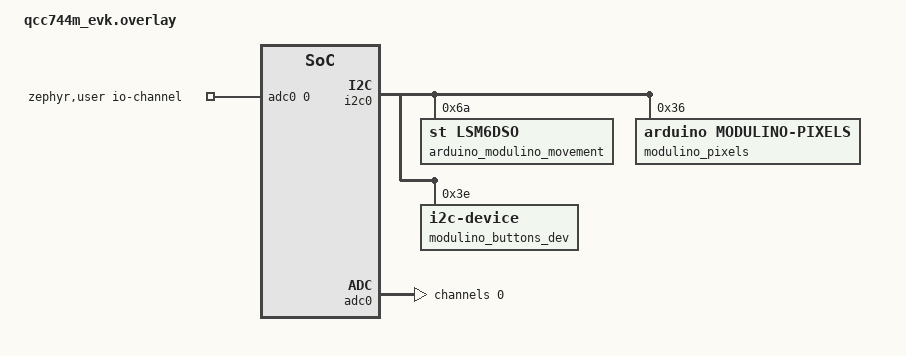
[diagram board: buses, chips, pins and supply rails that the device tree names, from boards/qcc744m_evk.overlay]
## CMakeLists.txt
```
cmake_minimum_required(VERSION 3.20.0)

set(CMAKE_CXX_STANDARD 11)
set(CMAKE_CXX_STANDARD_REQUIRED ON)

list(APPEND ZEPHYR_EXTRA_MODULES ${CMAKE_CURRENT_SOURCE_DIR}/model)

find_package(Zephyr REQUIRED HINTS $ENV{ZEPHYR_BASE})

project(firwmare-qc-qcc744m-evk)

include(utils/cmake/utils.cmake)

# Needed for colorful output
zephyr_compile_options(-fdiagnostics-color=always)

# Project include directories
set(INCLUDES
    .
    src
    )
include_directories(${INCLUDES})

# --- DSP / inference performance -------------------------------------------
if(TARGET edge-impulse-sdk)
    get_target_property(_ei_srcs edge-impulse-sdk SOURCES)
    get_target_property(_ei_dir  edge-impulse-sdk SOURCE_DIR)
    set_source_files_properties(
        ${_ei_srcs}
        DIRECTORY ${_ei_dir}
        PROPERTIES COMPILE_OPTIONS
        # -fsingle-precision-constant: unsuffixed FP literals (2.0, 0.5, M_PI)
        # stay 'float' instead of promoting neighbouring math to soft-float double
        # (no hardware double on the E907 / -mabi=ilp32f).
        "-O3;-funroll-loops;-fno-math-errno;-ffp-contract=fast;-ffast-math;-fsingle-precision-constant")
endif()

# add all sources to the project
target_sources(app PRIVATE src/main.cpp src/ei_loop.cpp)
target_sources(app PRIVATE src/sensors/ei_inertial.cpp)
target_sources(app PRIVATE src/sensors/ei_adc.cpp)
target_sources(app PRIVATE src/sensors/ei_pixels.cpp)
target_sources(app PRIVATE src/sensors/ei_buttons.cpp)
# Sensor-specific inference; each file compiles only for its EI_CLASSIFIER_SENSOR
target_sources(app PRIVATE src/inference/imu_inferencing.cpp)
target_sources(app PRIVATE src/data-fwd/data_fw.cpp)
target_sources(app PRIVATE src/msg_handler/msg_handler.cpp)
```

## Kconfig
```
source "Kconfig.zephyr"

config SAMPLING_FREQUENCY_HZ
  int "sampling frequency in Hz"
  default 50
	help
	  Sampling frequency in Hz for the sensor.
```

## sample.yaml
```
sample:
  description: Run inference using one of the ST sensor hat
    application
  name: firmware-qc-qcc744m-evk
common:
    tags: introduction
    harness: console
    harness_config:
      type: one_line
      regex:
        - "Hello World! (.*)"
```

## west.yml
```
manifest:

  remotes:
    - name: zephyrproject-rtos
      url-base: https://github.com/zephyrproject-rtos

  projects:
    - name: zephyr
      remote:  zephyrproject-rtos
      repo-path: zephyr
      revision: main
      import: true

    - name: edge-impulse-sdk-zephyr
      description: Edge Impulse SDK for Zephyr
      path: modules/edge-impulse-sdk-zephyr
      revision: main
      west-commands: west/west-commands.yml
      url: https://github.com/edgeimpulse/edge-impulse-sdk-zephyr

  self:
    path: firmware-qc-qcc744m-evk
```

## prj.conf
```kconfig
CONFIG_GPIO=y
# enable c++ support
CONFIG_CPP=y
CONFIG_GLIBCXX_LIBCPP=y
CONFIG_PICOLIBC=y
CONFIG_REQUIRES_FLOAT_PRINTF=y
CONFIG_FPU=y

CONFIG_MAIN_STACK_SIZE=2048
CONFIG_CONSOLE_SUBSYS=y
CONFIG_CONSOLE_GETLINE=y

# EI DSP heap (ei_malloc -> k_malloc). MFCC peak is ~12 KB; keep comfortable
# headroom so bigger models / more slices don't OOM. RAM is <35% used.
CONFIG_HEAP_MEM_POOL_SIZE=32768

# Enable events
CONFIG_EVENTS=y

# Edge Impulse SDK
CONFIG_EDGE_IMPULSE_SDK=y
# 0: malloc/free, 1: k_malloc/k_free
CONFIG_EDGE_IMPULSE_HEAP_TYPE=1

CONFIG_SAMPLING_FREQUENCY_HZ=50

# Sensors
CONFIG_I2C=y
CONFIG_SENSOR=y
CONFIG_ADC=y

# Arduino Modulino Pixels (I2C LED strip)
CONFIG_LED_STRIP=y

# Arduino Modulino Buttons (I2C, via the input subsystem)
CONFIG_INPUT=y
```

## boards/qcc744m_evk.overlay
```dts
#include <zephyr/dt-bindings/input/input-event-codes.h>
#include <zephyr/dt-bindings/led/led.h>
/*
 * Local QCC744M EVK sensor wiring for Arduino Modulino Movement.
 * This avoids shield label-order issues by attaching the device directly to i2c0.
 */

/ {
	aliases {
		accel0 = &arduino_modulino_movement;
	};

	zephyr,user {
		io-channels = <&adc0 0>;
	};
};

&pinctrl {
	adc0_default: adc0_default {
		group1 {
			pinmux = <GPIO20_ADC_CH0>;
		};
	};
};

&i2c0 {
	arduino_modulino_movement: arduino-modulino-movement@6a {
		compatible = "st,lsm6dso";
		reg = <0x6a>;
	};

	modulino_pixels: modulino-pixels@36 {
		compatible = "arduino,modulino-pixels";
		reg = <0x36>;
		chain-length = <8>;
		color-mapping = <LED_COLOR_ID_RED
				 LED_COLOR_ID_GREEN
				 LED_COLOR_ID_BLUE>;
	};

	/*
	 * Arduino Modulino Buttons (A/B/C). The generic i2c-device node holds
	 * the bus address; the arduino,modulino-buttons child is the input
	 * driver that polls it and reports key press/release events.
	 */
	modulino_buttons_dev: modulino-buttons@3e {
		compatible = "i2c-device";
		reg = <0x3e>;

		modulino_buttons: modulino-buttons {
			compatible = "arduino,modulino-buttons";
			zephyr,codes = <INPUT_KEY_A>,
				       <INPUT_KEY_B>,
				       <INPUT_KEY_C>;
		};
	};
};

&adc0 {
	status = "okay";
	pinctrl-0 = <&adc0_default>;
	pinctrl-names = "default";

	channel@0 {
		reg = <0>;
		zephyr,gain = "ADC_GAIN_1";
		zephyr,reference = "ADC_REF_INTERNAL";
		zephyr,acquisition-time = <ADC_ACQ_TIME_DEFAULT>;
		zephyr,resolution = <16>;
		zephyr,input-positive = <0>;
	};
};
```

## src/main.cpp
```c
/* The Clear BSD License
 *
 * Copyright (c) 2026 EdgeImpulse Inc.
 * All rights reserved.
 *
 * Redistribution and use in source and binary forms, with or without
 * modification, are permitted (subject to the limitations in the disclaimer
 * below) provided that the following conditions are met:
 *
 *   * Redistributions of source code must retain the above copyright notice,
 *   this list of conditions and the following disclaimer.
 *
 *   * Redistributions in binary form must reproduce the above copyright
 *   notice, this list of conditions and the following disclaimer in the
 *   documentation and/or other materials provided with the distribution.
 *
 *   * Neither the name of the copyright holder nor the names of its
 *   contributors may be used to endorse or promote products derived from this
 *   software without specific prior written permission.
 *
 * NO EXPRESS OR IMPLIED LICENSES TO ANY PARTY'S PATENT RIGHTS ARE GRANTED BY
 * THIS LICENSE. THIS SOFTWARE IS PROVIDED BY THE COPYRIGHT HOLDERS AND
 * CONTRIBUTORS "AS IS" AND ANY EXPRESS OR IMPLIED WARRANTIES, INCLUDING, BUT NOT
 * LIMITED TO, THE IMPLIED WARRANTIES OF MERCHANTABILITY AND FITNESS FOR A
 * PARTICULAR PURPOSE ARE DISCLAIMED. IN NO EVENT SHALL THE COPYRIGHT HOLDER OR
 * CONTRIBUTORS BE LIABLE FOR ANY DIRECT, INDIRECT, INCIDENTAL, SPECIAL,
 * EXEMPLARY, OR CONSEQUENTIAL DAMAGES (INCLUDING, BUT NOT LIMITED TO,
 * PROCUREMENT OF SUBSTITUTE GOODS OR SERVICES; LOSS OF USE, DATA, OR PROFITS; OR
 * BUSINESS INTERRUPTION) HOWEVER CAUSED AND ON ANY THEORY OF LIABILITY, WHETHER
 * IN CONTRACT, STRICT LIABILITY, OR TORT (INCLUDING NEGLIGENCE OR OTHERWISE)
 * ARISING IN ANY WAY OUT OF THE USE OF THIS SOFTWARE, EVEN IF ADVISED OF THE
 * POSSIBILITY OF SUCH DAMAGE.
 */

#include <zephyr/kernel.h>
#include "sensors/ei_inertial.h"
#include "sensors/ei_adc.h"
#include "sensors/ei_pixels.h"
#include "sensors/ei_buttons.h"
#include "msg_handler/msg_handler.h"
#include "ei_loop.h"
#include <stdio.h>

int main(void)
{
    // This is needed so that output of printf is output immediately without buffering
    setvbuf(stdout, NULL, _IONBF, 0);

    // Init main loop and peripherals
    ei_loop_init();

    ei_inertial_init();
    ei_adc_init();

    if (ei_pixels_init() == false) {
        printf("Failed to init pixels\n");
    }
    else {
        printf("Pixels initialized\n");
    }

    ei_pixels_set_color(EI_PIXELS_ALL, 0x00, 0x00, 0x00); // Turn off all pixels

    // Status LEDs: reflect the app state (idle/inference/data-fwd) on the strip
    ei_pixels_start_status_task();

    if (ei_buttons_init() == false) {
        printf("Failed to init buttons\n");
    }
    else {
        printf("Buttons initialized\n");
    }

#if 0
    uint16_t raw_value;

    while (1) {
        if (ei_adc_read(&raw_value) == false) {
            printf("ADC read failed\n");
        } else {
            printf("ADC raw value: %d\n", raw_value);
        }

        k_sleep(K_MSEC(1000));
    }
#endif

    if (msg_handler_init() == false) {
        printf("Failed to init message handler\n");
        while (1)   {
            k_sleep(K_MSEC(1000));
        }
    }

    // Start the main loop
    ei_loop();

    return 0;
}
```

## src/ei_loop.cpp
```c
/* The Clear BSD License
 *
 * Copyright (c) 2026 EdgeImpulse Inc.
 * All rights reserved.
 *
 * Redistribution and use in source and binary forms, with or without
 * modification, are permitted (subject to the limitations in the disclaimer
 * below) provided that the following conditions are met:
 *
 *   * Redistributions of source code must retain the above copyright notice,
 *   this list of conditions and the following disclaimer.
 *
 *   * Redistributions in binary form must reproduce the above copyright
 *   notice, this list of conditions and the following disclaimer in the
 *   documentation and/or other materials provided with the distribution.
 *
 *   * Neither the name of the copyright holder nor the names of its
 *   contributors may be used to endorse or promote products derived from this
 *   software without specific prior written permission.
 *
 * NO EXPRESS OR IMPLIED LICENSES TO ANY PARTY'S PATENT RIGHTS ARE GRANTED BY
 * THIS LICENSE. THIS SOFTWARE IS PROVIDED BY THE COPYRIGHT HOLDERS AND
 * CONTRIBUTORS "AS IS" AND ANY EXPRESS OR IMPLIED WARRANTIES, INCLUDING, BUT NOT
 * LIMITED TO, THE IMPLIED WARRANTIES OF MERCHANTABILITY AND FITNESS FOR A
 * PARTICULAR PURPOSE ARE DISCLAIMED. IN NO EVENT SHALL THE COPYRIGHT HOLDER OR
 * CONTRIBUTORS BE LIABLE FOR ANY DIRECT, INDIRECT, INCIDENTAL, SPECIAL,
 * EXEMPLARY, OR CONSEQUENTIAL DAMAGES (INCLUDING, BUT NOT LIMITED TO,
 * PROCUREMENT OF SUBSTITUTE GOODS OR SERVICES; LOSS OF USE, DATA, OR PROFITS; OR
 * BUSINESS INTERRUPTION) HOWEVER CAUSED AND ON ANY THEORY OF LIABILITY, WHETHER
 * IN CONTRACT, STRICT LIABILITY, OR TORT (INCLUDING NEGLIGENCE OR OTHERWISE)
 * ARISING IN ANY WAY OUT OF THE USE OF THIS SOFTWARE, EVEN IF ADVISED OF THE
 * POSSIBILITY OF SUCH DAMAGE.
 */

#include <zephyr/kernel.h>
#include <zephyr/sys/atomic.h>
#include <zephyr/sys/util.h>
#include "edge-impulse-sdk/porting/ei_classifier_porting.h"
#include "ei_loop.h"
#include "data-fwd/data_fw.h"

#include "inference/inferencing.h"

#define EI_STATE_CHANGED_EVENT BIT(0)

static atomic_t g_app_state = ATOMIC_INIT(EI_APP_STATE_IDLE);
static struct k_event g_state_event;   /* drives the main loop */
static struct k_event g_notify_event;  /* broadcast to observers (e.g. LEDs) */

/**
 * Set the application state.
 */
void ei_set_app_state(enum ei_app_state new_state)
{
    atomic_set(&g_app_state, (atomic_val_t)new_state);
    k_event_post(&g_state_event, EI_STATE_CHANGED_EVENT);
    k_event_post(&g_notify_event, EI_STATE_CHANGED_EVENT);
}

/**
 * Block until the application state changes (for observers such as a status
 * LED). Clears the notification after waiting rather than before, so a change
 * that lands while the observer is busy is never lost.
 */
void ei_state_wait_change(void)
{
    k_event_wait(&g_notify_event, EI_STATE_CHANGED_EVENT, false, K_FOREVER);
    k_event_clear(&g_notify_event, EI_STATE_CHANGED_EVENT);
}

/**
 * Get the current application state.
 */
ei_app_state_t ei_get_app_state(void)
{
    return (ei_app_state_t)atomic_get(&g_app_state);
}

/**
 * Initialize the main loop and state event.
 */
void ei_loop_init(void)
{
    k_event_init(&g_state_event);
    k_event_init(&g_notify_event);
    k_event_post(&g_state_event, EI_STATE_CHANGED_EVENT);
}

/**
 * Main loop of the application.
 */
void ei_loop(void)
{
    ei_printf("Edge Impulse Zephyr SDK QCC744x EVK\n");

    while (1) {
        k_event_wait(&g_state_event, EI_STATE_CHANGED_EVENT, true, K_FOREVER);

        switch ((enum ei_app_state)atomic_get(&g_app_state)) {
        case EI_APP_STATE_IDLE:
            ei_printf("state: IDLE\n");
            break;
        case EI_APP_STATE_RUN_INFERENCE:
            if (ei_start_impulse()) {
                ei_printf("state: RUN INFERENCE\n");
            }
            else {
                ei_printf("ERR: Failed to start inference\n");
                ei_set_app_state(EI_APP_STATE_IDLE);
            }
            break;
        case EI_APP_STATE_RUN_INFERENCE_CONT:
            if (ei_start_impulse(true)) {
                ei_printf("state: RUN INFERENCE CONT\n");
            }
            else {
                ei_printf("ERR: Failed to start inference\n");
                ei_set_app_state(EI_APP_STATE_IDLE);
            }
            break;
        case EI_APP_STATE_RUN_INFERENCE_DEBUG:
            if (ei_start_impulse(false, true)) {
                ei_printf("state: RUN INFERENCE DEBUG\n");
            }
            else {
                ei_printf("ERR: Failed to start inference\n");
                ei_set_app_state(EI_APP_STATE_IDLE);
            }
            break;
        case EI_APP_STATE_STOP_INFERENCE:
            ei_printf("state: STOP INFERENCE\n");
            ei_stop_impulse();
            ei_set_app_state(EI_APP_STATE_IDLE);
            break;
        case EI_APP_STATE_RUN_DATA_FWD:
            if (data_fw_init()) {
                ei_printf("state: RUN DATA FORWARD\n");
            }
            else {
                ei_printf("ERR: Failed to start data forwarding\n");
                ei_set_app_state(EI_APP_STATE_IDLE);
            }
            break;
        case EI_APP_STATE_STOP_DATA_FWD:
            if (data_fw_deinit()) {
                ei_printf("state: STOP DATA FORWARD\n");
            }
            else {
                ei_printf("ERR: Failed to stop data forwarding\n");
                ei_set_app_state(EI_APP_STATE_IDLE);
            }
            break;
        default:
            ei_printf("state: UNKNOWN\n");
            break;
        }
    }
}
```

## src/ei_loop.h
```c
/* The Clear BSD License
 *
 * Copyright (c) 2026 EdgeImpulse Inc.
 * All rights reserved.
 *
 * Redistribution and use in source and binary forms, with or without
 * modification, are permitted (subject to the limitations in the disclaimer
 * below) provided that the following conditions are met:
 *
 *   * Redistributions of source code must retain the above copyright notice,
 *   this list of conditions and the following disclaimer.
 *
 *   * Redistributions in binary form must reproduce the above copyright
 *   notice, this list of conditions and the following disclaimer in the
 *   documentation and/or other materials provided with the distribution.
 *
 *   * Neither the name of the copyright holder nor the names of its
 *   contributors may be used to endorse or promote products derived from this
 *   software without specific prior written permission.
 *
 * NO EXPRESS OR IMPLIED LICENSES TO ANY PARTY'S PATENT RIGHTS ARE GRANTED BY
 * THIS LICENSE. THIS SOFTWARE IS PROVIDED BY THE COPYRIGHT HOLDERS AND
 * CONTRIBUTORS "AS IS" AND ANY EXPRESS OR IMPLIED WARRANTIES, INCLUDING, BUT NOT
 * LIMITED TO, THE IMPLIED WARRANTIES OF MERCHANTABILITY AND FITNESS FOR A
 * PARTICULAR PURPOSE ARE DISCLAIMED. IN NO EVENT SHALL THE COPYRIGHT HOLDER OR
 * CONTRIBUTORS BE LIABLE FOR ANY DIRECT, INDIRECT, INCIDENTAL, SPECIAL,
 * EXEMPLARY, OR CONSEQUENTIAL DAMAGES (INCLUDING, BUT NOT LIMITED TO,
 * PROCUREMENT OF SUBSTITUTE GOODS OR SERVICES; LOSS OF USE, DATA, OR PROFITS; OR
 * BUSINESS INTERRUPTION) HOWEVER CAUSED AND ON ANY THEORY OF LIABILITY, WHETHER
 * IN CONTRACT, STRICT LIABILITY, OR TORT (INCLUDING NEGLIGENCE OR OTHERWISE)
 * ARISING IN ANY WAY OUT OF THE USE OF THIS SOFTWARE, EVEN IF ADVISED OF THE
 * POSSIBILITY OF SUCH DAMAGE.
 */

#ifndef _EI_LOOP_H_
#define _EI_LOOP_H_

typedef enum ei_app_state {
    EI_APP_STATE_IDLE = 0,
    EI_APP_STATE_RUN_INFERENCE,
    EI_APP_STATE_RUN_INFERENCE_CONT,
    EI_APP_STATE_RUN_INFERENCE_DEBUG,
    EI_APP_STATE_STOP_INFERENCE,
    EI_APP_STATE_RUN_DATA_FWD,
    EI_APP_STATE_STOP_DATA_FWD,
} ei_app_state_t;

#ifdef __cplusplus
extern "C" {
#endif

void ei_loop_init(void);
void ei_loop(void);
void ei_set_app_state(ei_app_state_t new_state);
ei_app_state_t ei_get_app_state(void);

/**
 * @brief Block until the application state changes.
 *
 * For observers (e.g. a status-LED task) that want to react to state
 * transitions without polling. Returns after any ei_set_app_state() call.
 */
void ei_state_wait_change(void);

#ifdef __cplusplus
}
#endif

#endif // EI_LOOP_H
```
